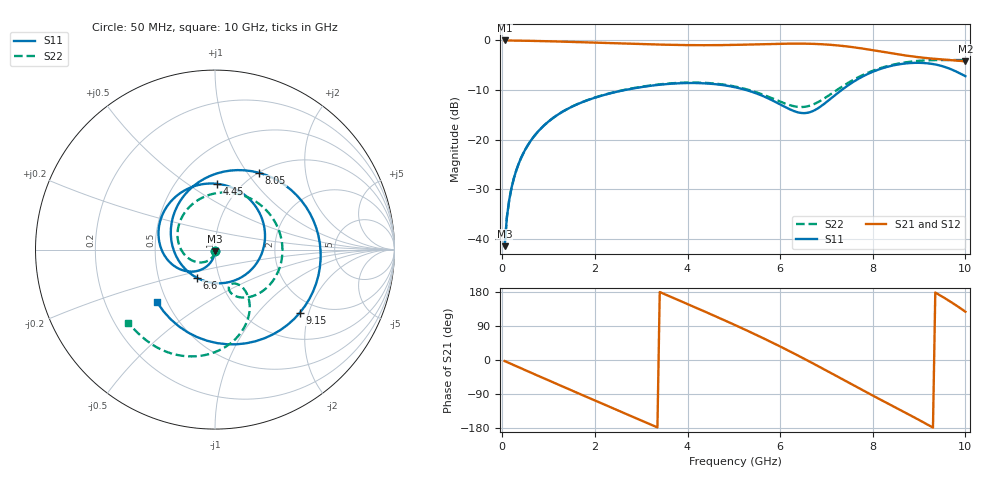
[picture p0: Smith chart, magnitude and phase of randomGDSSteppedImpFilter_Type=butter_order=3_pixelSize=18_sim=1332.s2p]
! freq	dB(S11)	phase(S11)	dB(S12)	phase(S12)
!  dB(S21)	phase(S21)	dB(S22)	phase(S22)
!S-par simulation data
#  GHz  S  DB  R 50
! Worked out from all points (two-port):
!   200 points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, 50 MHz to 10 GHz, reference 50 ohm
!   highest |S21| = -0.01 dB at 50 MHz (marker M1); lowest = -4.2 dB at 10 GHz (marker M2)
!   |S21| within 3 dB of the highest: start of sweep to 8.685 GHz
!   lowest |S11| = -41.5 dB at 50 MHz (marker M3), VSWR 1.02, Z = 50 - j0.838 ohm
!   |S11| at or under -10 dB: start of sweep to 2.654 GHz; 5.261 GHz to 7.329 GHz (2.068 GHz wide, 32.9 % of centre)
!   |S22| runs from -41.5 to -4.0 dB; largest |S21 - S12| = 0
!   S11 on the Smith chart (normalised r, x): 50 MHz: 1.00, -0.02; 4.45 GHz: 0.78, +0.66; 6.6 GHz: 0.78, -0.26; 8.05 GHz: 1.00, +1.14; 9.15 GHz: 1.63, -1.75; 10 GHz: 0.44, -0.32
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0.05  -41.53 -91.6  -0.01 -2.7  -0.01 -2.7  -41.53 -93.1
0.1  -35.62 -93.8  -0.01 -5.5  -0.01 -5.5  -35.63 -96.8
0.2  -29.73 -98.0  -0.02 -10.9  -0.02 -10.9  -29.74 -104.1
0.5  -21.96 -109.9  -0.06 -27.0  -0.06 -27.0  -21.98 -125.3
1.15  -15.29 -134.7  -0.20 -61.8  -0.20 -61.8  -15.28 -170.6
1.75  -12.38 -156.5  -0.37 -93.6  -0.37 -93.6  -12.35 147.5
2.65  -10.01 170.8  -0.63 -141.1  -0.63 -141.1  -9.95 85.4
3.4  -8.94 140.6  -0.84 179.4  -0.84 179.4  -8.86 37.1
3.9  -8.62 117.6  -0.93 153.0  -0.93 153.0  -8.53 7.8
4.45  -8.71 88.5  -0.96 123.7  -0.96 123.7  -8.60 -21.0
5.05  -9.50 50.8  -0.89 90.9  -0.89 90.9  -9.35 -47.6
5.75  -11.73 -6.6  -0.72 50.7  -0.72 50.7  -11.38 -68.4
6.2  -13.87 -59.1  -0.64 23.4  -0.64 23.4  -13.04 -69.7
6.6  -14.59 -122.1  -0.66 -1.9  -0.66 -1.9  -13.28 -60.6
6.7  -14.29 -138.9  -0.69 -8.4  -0.69 -8.4  -12.98 -58.1
7.35  -9.85 130.6  -1.11 -51.1  -1.11 -51.1  -9.25 -56.4
8.05  -6.14 60.3  -2.04 -97.1  -2.04 -97.1  -5.96 -75.8
8.35  -5.24 33.6  -2.51 -116.4  -2.51 -116.4  -5.10 -86.3
8.75  -4.61 -1.0  -3.09 -142.0  -3.09 -142.0  -4.37 -100.6
9.15  -4.59 -36.6  -3.55 -168.2  -3.55 -168.2  -4.02 -114.5
9.6  -5.49 -82.9  -3.90 159.8  -3.90 159.8  -3.96 -128.9
10  -7.22 -137.9  -4.23 127.5  -4.23 127.5  -3.96 -140.1
